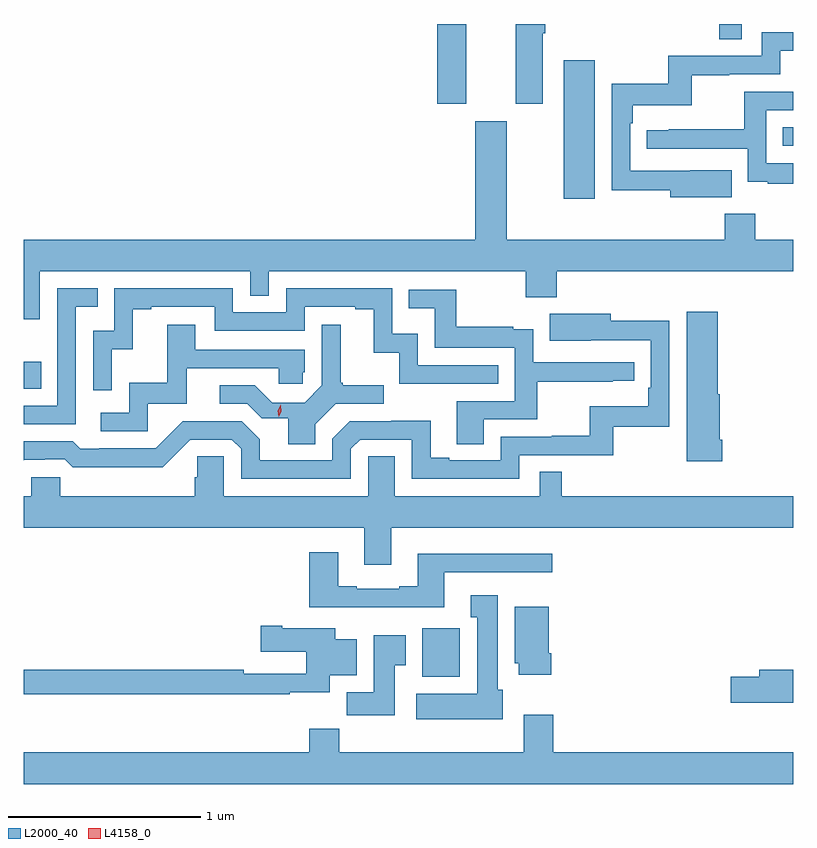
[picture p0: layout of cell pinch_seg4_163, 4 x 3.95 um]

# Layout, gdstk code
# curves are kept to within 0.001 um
import gdstk
lib = gdstk.Library(unit=1e-6, precision=1e-09)
def R(c, l, rs):  # rectangles x0, y0, x1, y1
    for r in rs: c.add(gdstk.rectangle(r[:2], r[2:], *l))
def P(c, l, *ps):  # polygons
    for p in ps: c.add(gdstk.Polygon(p, *l))
L2000_40 = (2000, 40)
L4158_0 = (4158, 0)

pinch_seg4_163 = lib.new_cell('pinch_seg4_163')
R(pinch_seg4_163, L2000_40, [(1118.999,790.718,1119.195,790.969), (1116.928,792.215,1117.019,792.355), (1119.734,793.2,1119.895,793.921), (1120.873,793.476,1120.928,793.572), (1119.077,793.695,1119.229,794.109), (1120.543,794.029,1120.659,794.109)])
P(pinch_seg4_163, L2000_40, [(1119.625,794.06),(1119.638,794.06),(1119.638,794.109),(1119.485,794.109),(1119.485,793.695),(1119.625,793.695)],
  [(1120.607,793.348),(1120.393,793.348),(1120.393,793.347),(1120.08,793.347),(1120.08,793.592),(1120.094,793.592),(1120.094,793.688),(1120.399,793.688),(1120.399,793.843),(1120.595,793.843),(1120.595,793.848),(1120.86,793.848),(1120.86,793.971),(1120.928,793.971),(1120.928,794.067),(1120.764,794.067),(1120.764,793.944),(1120.278,793.944),(1120.278,793.798),(1119.984,793.798),(1119.984,793.246),(1120.289,793.246),(1120.289,793.208),(1120.607,793.208)],
  [(1120.928,793.386),(1120.788,793.386),(1120.788,793.662),(1120.928,793.662),(1120.928,793.758),(1120.672,793.758),(1120.672,793.562),(1120.279,793.562),(1120.279,793.557),(1120.167,793.557),(1120.167,793.461),(1120.692,793.461),(1120.692,793.289),(1120.795,793.289),(1120.795,793.278),(1120.928,793.278)],
  [(1117.011,792.824),(1118.106,792.824),(1118.106,792.697),(1118.202,792.697),(1118.202,792.824),(1119.538,792.824),(1119.538,792.689),(1119.698,792.689),(1119.698,792.824),(1120.928,792.824),(1120.928,792.988),(1120.731,792.988),(1120.731,793.123),(1120.571,793.123),(1120.571,792.988),(1119.439,792.988),(1119.439,793.603),(1119.275,793.603),(1119.275,792.988),(1116.928,792.988),(1116.928,792.576),(1117.011,792.576)],
  [(1117.386,792.419),(1117.496,792.419),(1117.496,792.627),(1117.591,792.627),(1117.591,792.639),(1117.92,792.639),(1117.92,792.516),(1118.388,792.516),(1118.388,792.639),(1118.651,792.639),(1118.651,792.627),(1118.747,792.627),(1118.747,792.401),(1118.88,792.401),(1118.88,792.24),(1119.395,792.24),(1119.395,792.336),(1118.976,792.336),(1118.976,792.499),(1118.844,792.499),(1118.844,792.735),(1118.292,792.735),(1118.292,792.612),(1118.016,792.612),(1118.016,792.735),(1117.398,792.735),(1117.398,792.516),(1117.29,792.516),(1117.29,792.207),(1117.386,792.207)],
  [(1117.2,792.639),(1117.313,792.639),(1117.313,792.735),(1117.104,792.735),(1117.104,792.126),(1116.928,792.126),(1116.928,792.03),(1117.2,792.03)],
  [(1119.319,792.054),(1119.596,792.054),(1119.596,792.25),(1119.989,792.25),(1119.989,792.255),(1120.102,792.255),(1120.102,792.351),(1119.576,792.351),(1119.576,792.523),(1119.473,792.523),(1119.473,792.535),(1119.175,792.535),(1119.175,792.729),(1118.929,792.729),(1118.929,792.632),(1119.064,792.632),(1119.064,792.426),(1119.48,792.426),(1119.48,792.15),(1119.179,792.15),(1119.179,791.926),(1119.319,791.926)],
  [(1120.559,791.95),(1120.546,791.95),(1120.546,792.186),(1120.534,792.186),(1120.534,792.613),(1120.373,792.613),(1120.373,791.838),(1120.559,791.838)],
  [(1118.628,791.901),(1118.676,791.949),(1118.946,791.949),(1118.946,791.745),(1119.504,791.745),(1119.504,791.868),(1119.991,791.868),(1119.991,792.015),(1120.284,792.015),(1120.284,792.566),(1119.979,792.566),(1119.979,792.604),(1119.661,792.604),(1119.661,792.464),(1120.188,792.465),(1120.188,792.22),(1120.175,792.22),(1120.175,792.124),(1119.87,792.124),(1119.87,791.969),(1119.673,791.969),(1119.673,791.964),(1119.408,791.964),(1119.408,791.841),(1119.139,791.841),(1119.139,791.854),(1119.043,791.854),(1119.043,792.047),(1118.838,792.047),(1118.838,792.045),(1118.622,792.045),(1118.532,791.955),(1118.532,791.841),(1118.155,791.841),(1118.155,791.951),(1118.061,792.045),(1117.755,792.045),(1117.614,791.904),(1117.321,791.904),(1117.321,791.901),(1117.222,791.901),(1117.183,791.94),(1116.928,791.94),(1116.928,791.841),(1116.931,791.844),(1117.038,791.844),(1117.038,791.847),(1117.141,791.847),(1117.183,791.805),(1117.416,791.805),(1117.416,791.807),(1117.652,791.807),(1117.794,791.949),(1118.01,791.949),(1118.058,791.901),(1118.058,791.745),(1118.628,791.745)],
  [(1118.443,792.028),(1118.55,792.135),(1118.8,792.135),(1118.8,792.232),(1118.587,792.232),(1118.587,792.244),(1118.575,792.244),(1118.575,792.547),(1118.478,792.547),(1118.478,792.231),(1118.389,792.142),(1118.22,792.142),(1118.13,792.231),(1117.947,792.231),(1117.947,792.135),(1118.091,792.135),(1118.166,792.06),(1118.303,792.06),(1118.303,791.926),(1118.443,791.926)],
  [(1117.572,792.135),(1117.777,792.135),(1117.777,792.321),(1118.253,792.321),(1118.253,792.24),(1118.379,792.24),(1118.379,792.299),(1118.388,792.299),(1118.388,792.417),(1117.819,792.417),(1117.819,792.547),(1117.675,792.547),(1117.675,792.244),(1117.476,792.244),(1117.476,792.09),(1117.329,792.09),(1117.329,791.994),(1117.572,791.994)],
  [(1118.839,791.492),(1120.928,791.492),(1120.928,791.656),(1119.725,791.656),(1119.725,791.783),(1119.609,791.783),(1119.609,791.656),(1118.857,791.656),(1118.857,791.864),(1118.718,791.864),(1118.718,791.656),(1117.968,791.656),(1117.968,791.864),(1117.831,791.864),(1117.831,791.754),(1117.817,791.754),(1117.817,791.656),(1117.119,791.656),(1117.119,791.754),(1116.969,791.754),(1116.969,791.656),(1116.928,791.656),(1116.928,791.492),(1118.699,791.492),(1118.699,791.298),(1118.839,791.298)],
  [(1119.115,791.259),(1119.676,791.259),(1119.676,791.356),(1118.975,791.356),(1118.975,791.188),(1118.879,791.188),(1118.879,791.175),(1118.659,791.175),(1118.659,791.188),(1118.563,791.188),(1118.563,791.365),(1118.411,791.365),(1118.411,791.078),(1119.115,791.078)],
  [(1119.418,790.65),(1119.391,790.65),(1119.391,791.14),(1119.251,791.14),(1119.251,791.027),(1119.284,791.027),(1119.284,790.63),(1118.967,790.63),(1118.967,790.496),(1119.418,790.496)],
  [(1119.671,790.84),(1119.658,790.84),(1119.658,791.08),(1119.479,791.08),(1119.479,790.788),(1119.5,790.788),(1119.5,790.728),(1119.671,790.728)],
  [(1118.312,790.637),(1118.518,790.637),(1118.518,790.724),(1118.659,790.724),(1118.659,790.912),(1118.548,790.912),(1118.548,790.969),(1118.272,790.969),(1118.272,790.982),(1118.16,790.982),(1118.16,790.847),(1118.396,790.847),(1118.396,790.734),(1118.072,790.734),(1118.072,790.754),(1116.928,790.754),(1116.928,790.626),(1118.312,790.626)],
  [(1118.857,790.777),(1118.914,790.777),(1118.914,790.933),(1118.747,790.933),(1118.747,790.636),(1118.608,790.636),(1118.608,790.518),(1118.857,790.518)],
  [(1120.928,790.754),(1120.751,790.754),(1120.751,790.718),(1120.602,790.718),(1120.602,790.583),(1120.928,790.583)],
  [(1120.928,790.324),(1119.68,790.324),(1119.68,790.519),(1119.527,790.519),(1119.527,790.324),(1118.567,790.324),(1118.567,790.448),(1118.411,790.448),(1118.411,790.324),(1116.928,790.324),(1116.928,790.16),(1120.928,790.16)])
P(pinch_seg4_163, L4158_0, [(1118.253,792.068),(1118.253,792.068),(1118.248,792.1),(1118.263,792.129),(1118.263,792.13),(1118.263,792.129),(1118.268,792.097),(1118.254,792.068)])

lib.write_gds('pinch_seg4_163.gds')
